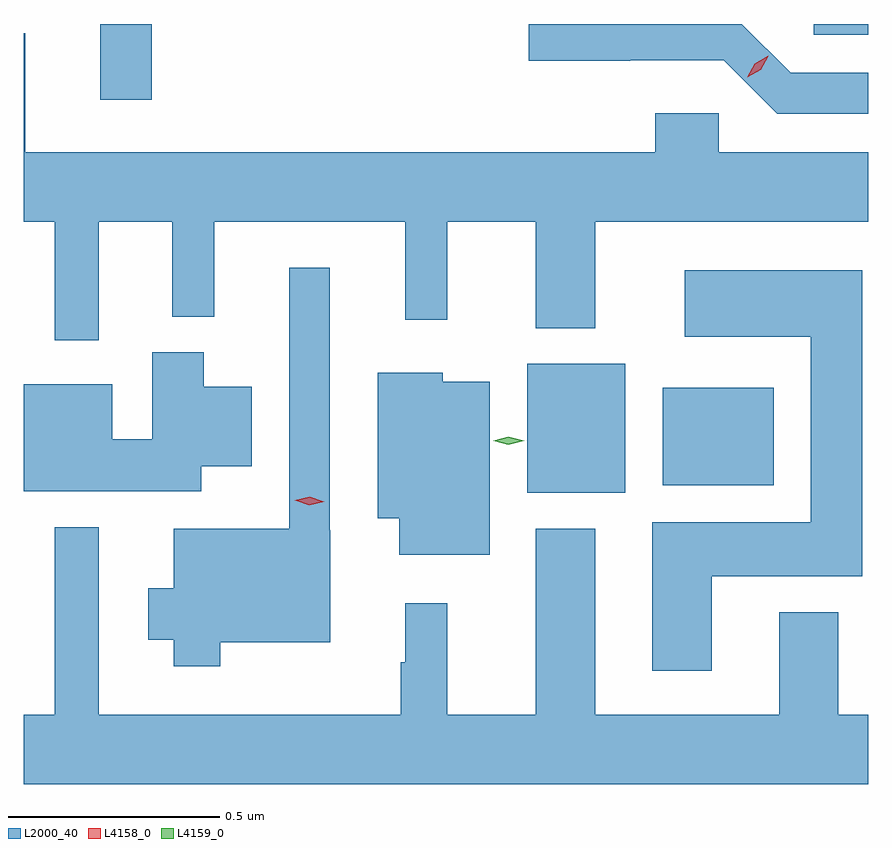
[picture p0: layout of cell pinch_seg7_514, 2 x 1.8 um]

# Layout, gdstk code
import gdstk
lib = gdstk.Library(unit=1e-6, precision=1e-09)
def R(c, l, rs):  # rectangles x0, y0, x1, y1
    for r in rs: c.add(gdstk.rectangle(r[:2], r[2:], *l))
def P(c, l, *ps):  # polygons
    for p in ps: c.add(gdstk.Polygon(p, *l))
L2000_40 = (2000, 40)
L4158_0 = (4158, 0)
L4159_0 = (4159, 0)

pinch_seg7_514 = lib.new_cell('pinch_seg7_514')
R(pinch_seg7_514, L2000_40, [(203.54,1071.902,203.773,1072.207), (203.861,1071.92,204.124,1072.15), (202.529,1072.833,202.651,1073.012), (204.219,1072.986,204.348,1073.012)])
P(pinch_seg7_514, L2000_40, [(204.348,1072.896),(204.165,1072.896),(204.049,1073.012),(203.544,1073.012),(203.544,1072.925),(203.784,1072.925),(203.784,1072.926),(204.006,1072.926),(204.132,1072.8),(204.348,1072.8)],
  [(202.525,1072.544),(202.7,1072.544),(202.7,1072.319),(202.799,1072.319),(202.799,1072.544),(203.252,1072.544),(203.252,1072.311),(203.351,1072.311),(203.351,1072.544),(203.561,1072.544),(203.561,1072.292),(203.701,1072.292),(203.701,1072.544),(204.348,1072.544),(204.348,1072.708),(203.994,1072.708),(203.994,1072.801),(203.843,1072.801),(203.843,1072.708),(202.351,1072.708),(202.351,1072.99),(202.348,1072.99),(202.348,1072.544),(202.421,1072.544),(202.421,1072.263),(202.525,1072.263)],
  [(202.813,1071.548),(203.074,1071.548),(203.074,1071.813),(203.073,1071.813),(203.073,1072.435),(202.977,1072.435),(202.977,1071.817),(202.703,1071.817),(202.703,1071.676),(202.643,1071.676),(202.643,1071.554),(202.703,1071.554),(202.703,1071.491),(202.813,1071.491)],
  [(203.977,1071.704),(204.334,1071.704),(204.334,1072.429),(203.913,1072.429),(203.913,1072.271),(204.212,1072.271),(204.212,1071.832),(203.837,1071.832),(203.837,1071.48),(203.977,1071.48)],
  [(202.768,1071.965),(202.888,1071.965),(202.888,1072.153),(202.774,1072.153),(202.774,1072.234),(202.652,1072.234),(202.652,1072.028),(202.558,1072.028),(202.558,1072.159),(202.348,1072.159),(202.348,1071.905),(202.768,1071.905)],
  [(203.452,1072.165),(203.34,1072.165),(203.34,1072.186),(203.186,1072.186),(203.186,1071.842),(203.237,1071.842),(203.237,1071.755),(203.452,1071.755)],
  [(204.348,1071.376),(204.277,1071.376),(204.277,1071.619),(204.137,1071.619),(204.137,1071.376),(203.701,1071.376),(203.701,1071.817),(203.561,1071.817),(203.561,1071.376),(203.351,1071.376),(203.351,1071.64),(203.252,1071.64),(203.252,1071.5),(203.241,1071.5),(203.241,1071.376),(202.525,1071.376),(202.525,1071.82),(202.421,1071.82),(202.421,1071.376),(202.348,1071.376),(202.348,1071.212),(204.348,1071.212)])
P(pinch_seg7_514, L4158_0, [(204.061,1072.886),(204.061,1072.886),(204.079,1072.918),(204.111,1072.937),(204.111,1072.937),(204.111,1072.936),(204.093,1072.904),(204.061,1072.886)],
  [(203.024,1071.872),(202.99,1071.884),(202.989,1071.884),(202.99,1071.884),(203.025,1071.892),(203.06,1071.881),(203.06,1071.881),(203.06,1071.881)])
P(pinch_seg7_514, L4159_0, [(203.496,1072.015),(203.46,1072.025),(203.459,1072.025),(203.46,1072.025),(203.496,1072.035),(203.533,1072.025),(203.533,1072.025),(203.533,1072.025)])

lib.write_gds('pinch_seg7_514.gds')
